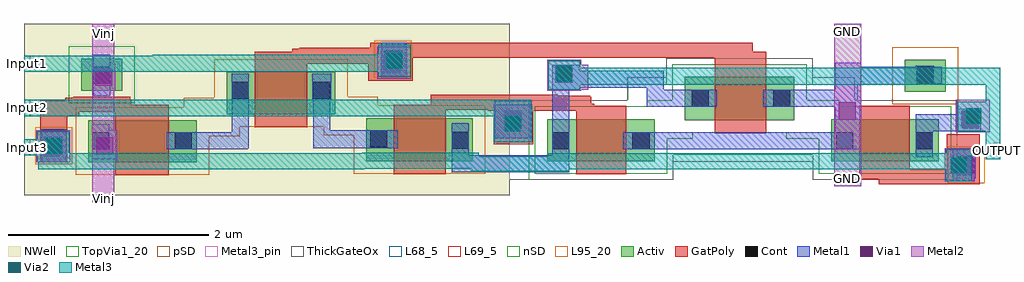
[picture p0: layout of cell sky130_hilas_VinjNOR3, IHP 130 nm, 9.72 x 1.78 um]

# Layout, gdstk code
import gdstk
lib = gdstk.Library(unit=1e-6, precision=1e-09)
def R(c, l, rs):  # rectangles x0, y0, x1, y1
    for r in rs: c.add(gdstk.rectangle(r[:2], r[2:], *l))
Activ = (1, 0)
GatPoly = (5, 0)
Cont = (6, 0)
nSD = (7, 0)
Metal1 = (8, 0)
Metal2 = (10, 0)
pSD = (14, 0)
Via1 = (19, 0)
Via2 = (29, 0)
Metal3 = (30, 0)
Metal3_pin = (30, 2)
NWell = (31, 0)
ThickGateOx = (44, 0)
L68_5 = (68, 5)
L69_5 = (69, 5)
L95_20 = (95, 20)
TopVia1_20 = (125, 20)

sky130_hilas_vinjnor3 = lib.new_cell('sky130_hilas_VinjNOR3')
R(sky130_hilas_vinjnor3, Activ, [(-2.79,1.72,-1.71,2.14), (-0.02,1.73,1.04,2.16), (1.78,1.73,2.85,2.15), (4.61,1.73,5.68,2.15), (3.15,2.14,4.24,2.57), (-1.41,2.2,-0.33,2.62), (5.34,2.42,5.75,2.74), (-2.86,2.43,-2.45,2.75)])
R(sky130_hilas_vinjnor3, GatPoly, [(5.08,1.5,6.09,1.55), (4.89,1.55,6.09,1.65), (-2.52,1.59,-1.99,2.22), (0.25,1.6,0.77,2.24), (2.07,1.6,2.57,2.23), (4.89,1.65,5.39,2.28), (5.76,1.65,6.09,2), (-3.27,1.72,-3,2.18), (1.25,1.9,1.64,2.23), (3.45,2.01,3.96,2.76), (-1.13,2.07,-0.61,2.7), (-3.27,2.18,-2.88,2.22), (-3.27,2.22,-1.99,2.29), (1.19,2.23,2.57,2.24), (0.25,2.24,2.57,2.28), (0.25,2.28,2.25,2.29), (-3.27,2.29,-2.36,2.33), (0.62,2.29,2.25,2.3), (0.62,2.3,2.22,2.37), (-3.02,2.33,-2.37,2.36), (-2.94,2.36,-2.37,2.37), (0.62,2.37,2.21,2.38), (0.62,2.38,1.88,2.39), (0,2.53,0.44,2.7), (-1.13,2.7,0.44,2.76), (-1.13,2.76,3.96,2.82), (-0.76,2.82,3.83,2.85), (-0.69,2.85,3.83,2.86), (0.02,2.86,3.83,2.91)])
R(sky130_hilas_vinjnor3, Cont, [(5.87,1.61,6.04,1.78), (-3.22,1.8,-3.05,1.97), (-2.75,1.85,-2.58,2.02), (-1.93,1.85,-1.76,2.02), (1.83,1.85,2,2.02), (2.63,1.85,2.8,2.02), (4.66,1.85,4.83,2.02), (5.45,1.85,5.62,2.02), (0.83,1.855,1,2.025), (0.02,1.87,0.19,2.04), (1.355,2.06,1.525,2.23), (3.22,2.27,3.39,2.44), (4.03,2.27,4.2,2.44), (-1.36,2.35,-1.19,2.52), (-0.55,2.35,-0.38,2.52), (-2.74,2.5,-2.57,2.67), (5.46,2.5,5.63,2.67), (0.16,2.66,0.33,2.83)])
R(sky130_hilas_vinjnor3, nSD, [(1.655,1.605,2.975,1.955), (4.485,1.605,5.805,1.955), (1.655,1.955,3.23,2.015), (4.16,1.955,5.805,2.015), (1.655,2.015,5.805,2.275), (2.77,2.275,4.69,2.335), (-2.985,2.305,-2.325,2.875), (3.025,2.335,4.365,2.695)])
R(sky130_hilas_vinjnor3, Metal1, [(5.82,1.53,6.04,1.86), (0.83,1.62,2,1.79), (-3.26,1.72,-3.01,2.05), (-2.74,1.75,-2.5,1.77), (-2.75,1.77,-2.5,2.04), (5.45,1.77,5.62,2.03), (0.83,1.79,1,2.11), (1.83,1.79,2,2.44), (-2.01,1.85,-1.2,1.86), (2.54,1.85,4.91,2.02), (-2.01,1.86,-1.19,2.02), (-0.55,1.86,0.29,2.04), (1.26,1.96,1.62,2.33), (-1.36,2.02,-1.19,2.6), (4.65,2.02,4.91,2.27), (5.45,2.03,6.1,2.2), (-2.75,2.04,-2.58,2.1), (-0.55,2.04,-0.38,2.34), (5.85,2.2,6.1,2.25), (2.77,2.27,3.47,2.44), (3.93,2.27,4.91,2.44), (-0.56,2.34,-0.37,2.6), (-2.74,2.38,-2.57,2.48), (1.83,2.44,2.09,2.45), (2.77,2.44,2.94,2.46), (4.65,2.44,4.91,2.49), (1.83,2.45,2.1,2.46), (1.83,2.46,2.94,2.63), (-2.74,2.48,-2.55,2.65), (4.65,2.49,5.63,2.5), (4.65,2.5,5.71,2.67), (0.13,2.55,0.38,2.91), (1.83,2.63,2.1,2.69), (-2.74,2.65,-2.57,2.79), (4.65,2.67,4.91,2.71), (5.45,2.67,5.63,2.68)])
R(sky130_hilas_vinjnor3, Metal2, [(-2.75,1.32,-2.53,1.73), (4.64,1.48,4.91,3.1), (5.74,1.53,6.04,1.56), (5.74,1.56,6.05,1.79), (-3.31,1.72,-2.97,2.04), (-2.75,1.73,-2.5,2.04), (5.74,1.79,6.04,1.86), (1.25,1.92,1.63,2.29), (5.85,2.02,6.19,2.34), (-2.75,2.04,-2.53,2.44), (1.78,2.43,2.12,2.44), (-2.75,2.44,-2.52,2.7), (1.78,2.44,2.19,2.69), (0.09,2.55,0.42,2.87), (1.78,2.69,2.12,2.74), (-2.75,2.7,-2.53,3.1)])
R(sky130_hilas_vinjnor3, pSD, [(-2.915,1.595,-1.585,1.98), (-0.145,1.605,1.165,1.99), (-2.915,1.98,-1.28,2.075), (-0.445,1.99,1.165,2.075), (-2.915,2.075,1.165,2.265), (-1.84,2.265,1.165,2.285), (-1.84,2.285,0.095,2.36), (5.215,2.295,5.875,2.865), (-1.535,2.36,0.095,2.37), (-1.535,2.37,-0.205,2.745)])
R(sky130_hilas_vinjnor3, Via1, [(5.85,1.59,6.02,1.76), (-3.24,1.78,-3.07,1.95), (-2.71,1.8,-2.54,1.97), (1.355,2.06,1.525,2.23), (5.91,2.06,6.08,2.23), (4.685,2.145,4.855,2.315), (-2.72,2.48,-2.55,2.65), (1.86,2.51,2.03,2.68), (0.15,2.61,0.32,2.78)])
R(sky130_hilas_vinjnor3, Via2, [(5.805,1.615,5.955,1.765), (-3.215,1.805,-3.065,1.955), (1.365,2.03,1.515,2.18), (5.955,2.105,6.105,2.255), (1.875,2.525,2.025,2.675), (0.185,2.655,0.335,2.805)])
R(sky130_hilas_vinjnor3, Metal3, [(5.75,1.53,6.01,1.65), (1.03,1.63,2,1.65), (-3.29,1.65,-0.04,1.655), (1.03,1.65,6.01,1.655), (-3.29,1.655,6.01,1.73), (-3.3,1.73,6.01,1.78), (6.15,1.75,6.29,2.03), (-3.3,1.78,1.1,1.79), (1.79,1.78,6.01,1.81), (-3.43,1.79,1.1,1.81), (-3.43,1.81,-2.98,1.95), (-0.06,1.81,1.1,1.815), (5.75,1.81,6.01,1.85), (1.25,1.92,1.63,2.18), (-3.3,1.95,-2.98,2.03), (5.87,2.03,6.29,2.32), (-3.43,2.18,1.63,2.29), (-3.43,2.29,1.62,2.34), (6.15,2.32,6.29,2.49), (1.79,2.44,2.11,2.49), (1.79,2.49,6.29,2.66), (0.1,2.57,0.42,2.62), (-3.43,2.62,0.42,2.78), (1.79,2.66,2.11,2.73), (-2.15,2.78,0.42,2.79), (0.1,2.79,0.42,2.89)])
R(sky130_hilas_vinjnor3, Metal3_pin, [(6.23,1.75,6.29,1.92)])
R(sky130_hilas_vinjnor3, NWell, [(-3.43,1.39,1.41,3.1)])
R(sky130_hilas_vinjnor3, ThickGateOx, [(-3.43,1.39,1.41,1.545), (-3.43,1.545,3.035,1.725), (4.425,1.545,5.865,1.725), (-3.43,1.725,5.865,2.335), (-3.43,2.335,1.41,3.1), (2.58,2.335,4.845,2.565), (2.965,2.565,4.425,2.755)])
R(sky130_hilas_vinjnor3, L68_5, [(-2.75,1.33,-2.53,1.39), (4.64,1.53,4.91,1.58), (-2.75,2.97,-2.53,3.04), (4.64,2.99,4.91,3.05)])
R(sky130_hilas_vinjnor3, L69_5, [(-3.43,1.79,-3.37,1.95), (-3.43,2.18,-3.37,2.34), (-3.43,2.62,-3.37,2.78)])
R(sky130_hilas_vinjnor3, L95_20, [(5.77,1.51,6.14,1.88), (-3.32,1.7,-2.95,2.07), (1.255,1.96,1.625,2.33), (0.06,2.56,0.43,2.93)])
R(sky130_hilas_vinjnor3, TopVia1_20, [(1.595,1.545,3.035,1.795), (4.425,1.545,5.865,1.795), (1.595,1.795,5.865,2.335), (2.585,2.335,4.875,2.495), (2.965,2.495,4.425,2.755)])
sky130_hilas_vinjnor3.add(gdstk.Label('Vinj', (-2.64,3.005), layer=68, texttype=5))
sky130_hilas_vinjnor3.add(gdstk.Label('Vinj', (-2.64,1.36), layer=68, texttype=5))
sky130_hilas_vinjnor3.add(gdstk.Label('GND', (4.775,1.555), layer=68, texttype=5))
sky130_hilas_vinjnor3.add(gdstk.Label('GND', (4.775,3.02), layer=68, texttype=5))
sky130_hilas_vinjnor3.add(gdstk.Label('Input1', (-3.4,2.7), layer=69, texttype=5))
sky130_hilas_vinjnor3.add(gdstk.Label('Input2', (-3.4,2.26), layer=69, texttype=5))
sky130_hilas_vinjnor3.add(gdstk.Label('Input3', (-3.4,1.87), layer=69, texttype=5))
sky130_hilas_vinjnor3.add(gdstk.Label('OUTPUT', (6.26,1.835), layer=69, texttype=5))

lib.write_gds('sky130_hilas_VinjNOR3.gds')
